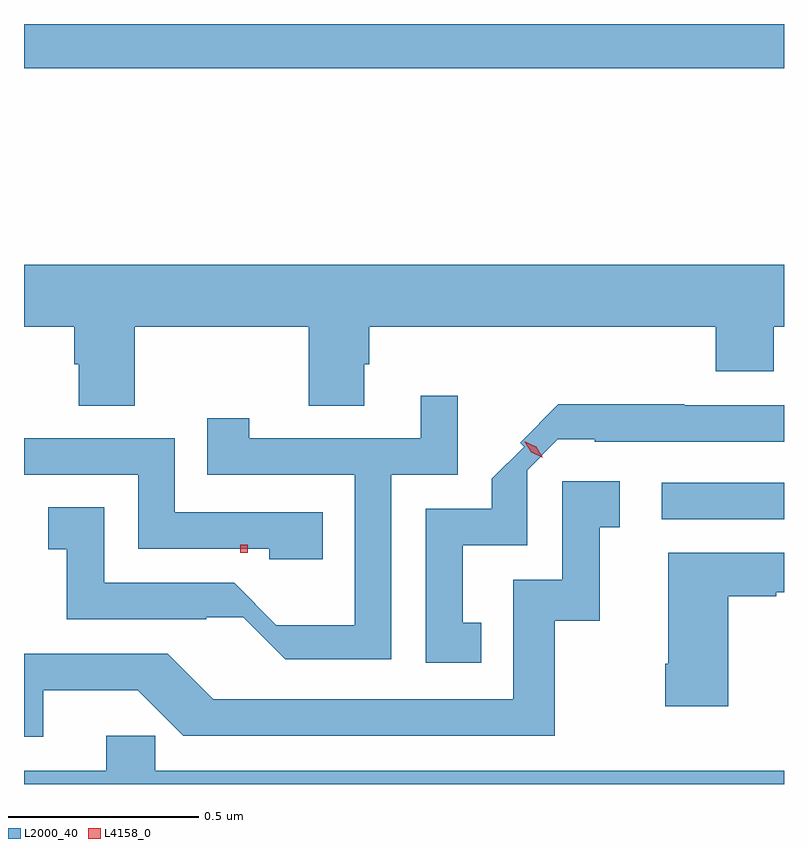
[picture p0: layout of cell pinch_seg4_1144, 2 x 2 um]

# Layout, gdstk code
import gdstk
lib = gdstk.Library(unit=1e-6, precision=1e-09)
def R(c, l, rs):  # rectangles x0, y0, x1, y1
    for r in rs: c.add(gdstk.rectangle(r[:2], r[2:], *l))
def P(c, l, *ps):  # polygons
    for p in ps: c.add(gdstk.Polygon(p, *l))
L2000_40 = (2000, 40)
L4158_0 = (4158, 0)

pinch_seg4_1144 = lib.new_cell('pinch_seg4_1144')
R(pinch_seg4_1144, L2000_40, [(516.975,801.642,517.297,801.738), (515.297,802.828,517.297,802.945)])
P(pinch_seg4_1144, L2000_40, [(515.589,802.148),(516.046,802.148),(516.046,801.94),(516.193,801.94),(516.193,802.05),(516.206,802.05),(516.206,802.148),(517.118,802.148),(517.118,802.031),(517.27,802.031),(517.27,802.148),(517.297,802.148),(517.297,802.312),(515.297,802.312),(515.297,802.148),(515.429,802.148),(515.429,802.05),(515.441,802.05),(515.441,801.94),(515.589,801.94)],
  [(516.264,801.759),(516.438,801.759),(516.438,801.967),(516.341,801.967),(516.341,801.855),(515.89,801.855),(515.89,801.907),(515.779,801.907),(515.779,801.759),(516.168,801.759),(516.168,801.363),(515.961,801.363),(515.85,801.474),(515.508,801.474),(515.508,801.673),(515.361,801.673),(515.361,801.563),(515.41,801.563),(515.41,801.378),(515.777,801.378),(515.777,801.384),(515.874,801.384),(515.985,801.273),(516.264,801.273)],
  [(516.5,801.369),(516.451,801.369),(516.451,801.573),(516.621,801.573),(516.621,801.771),(516.702,801.852),(516.799,801.852),(516.799,801.846),(517.297,801.846),(517.297,801.942),(517.034,801.942),(517.034,801.944),(516.703,801.944),(516.603,801.843),(516.613,801.833),(516.528,801.748),(516.528,801.669),(516.354,801.669),(516.354,801.264),(516.5,801.264)],
  [(516.083,801.66),(515.694,801.66),(515.694,801.855),(515.297,801.855),(515.297,801.759),(515.598,801.759),(515.598,801.564),(515.943,801.564),(515.943,801.537),(516.083,801.537)],
  [(515.347,801.192),(515.596,801.192),(515.716,801.072),(516.694,801.072),(516.694,801.375),(516.812,801.375),(516.812,801.621),(516.865,801.621),(516.865,801.742),(516.714,801.742),(516.714,801.483),(516.585,801.483),(516.585,801.168),(515.795,801.168),(515.675,801.288),(515.297,801.288),(515.297,801.069),(515.347,801.069)],
  [(517.15,801.439),(517.277,801.439),(517.277,801.449),(517.297,801.449),(517.297,801.553),(516.992,801.553),(516.992,801.262),(516.985,801.262),(516.985,801.15),(517.15,801.15)],
  [(517.297,800.98),(515.643,800.98),(515.643,801.072),(515.513,801.072),(515.513,800.98),(515.297,800.98),(515.297,800.945),(517.297,800.945)])
R(pinch_seg4_1144, L4158_0, [(515.866,801.554,515.886,801.574)])
P(pinch_seg4_1144, L4158_0, [(516.662,801.804),(516.632,801.818),(516.614,801.847),(516.614,801.847),(516.614,801.847),(516.645,801.833),(516.662,801.804),(516.662,801.804)])

lib.write_gds('pinch_seg4_1144.gds')
